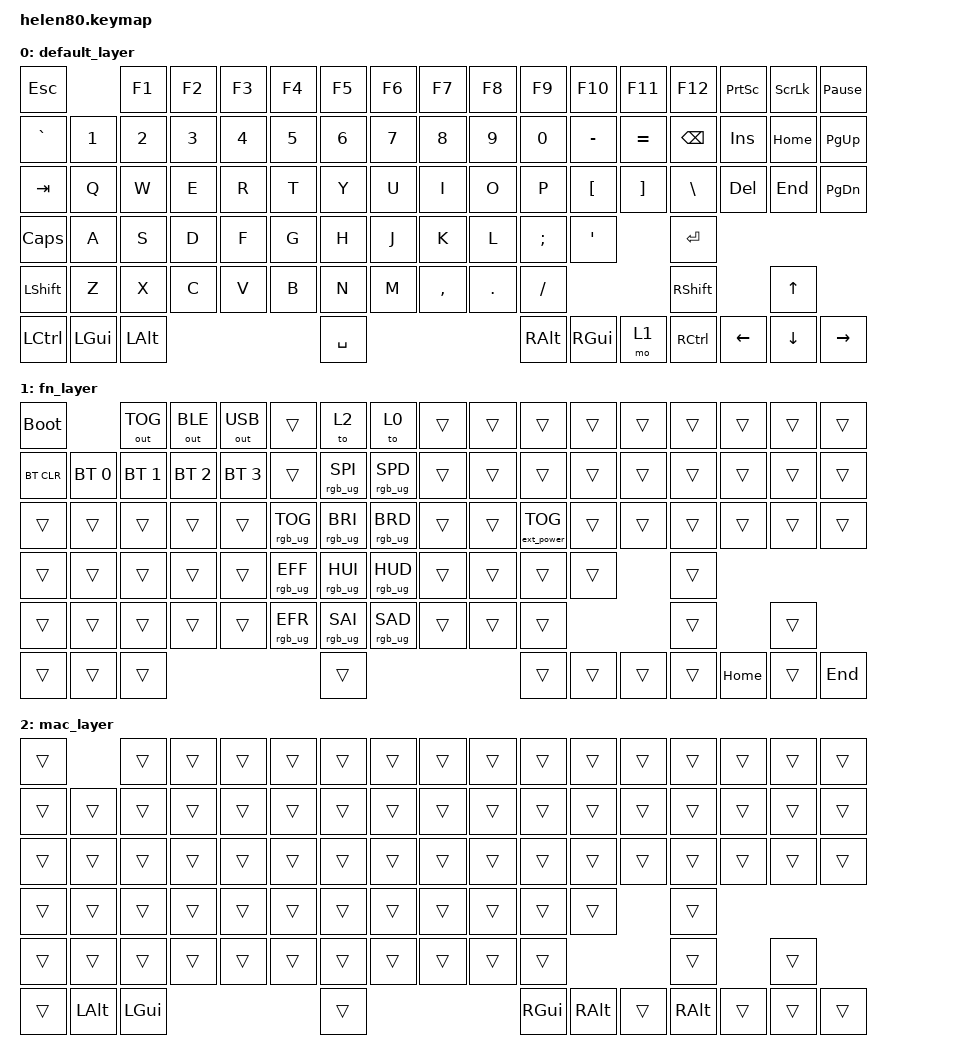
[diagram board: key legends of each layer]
#include <behaviors.dtsi>
#include <dt-bindings/zmk/keys.h>
#include <dt-bindings/zmk/rgb.h>
#include <dt-bindings/zmk/bt.h>
#include <dt-bindings/zmk/ext_power.h>
#include <dt-bindings/zmk/outputs.h>
/*

*/


/ {
    keymap {
        compatible = "zmk,keymap";

        default_layer {
            bindings = <
&kp ESC             &kp F1  &kp F2  &kp F3  &kp F4  &kp F5    &kp F6  &kp F7    &kp F8  &kp F9   &kp F10    &kp F11    &kp F12      &kp PSCRN &kp SLCK  &kp PAUSE_BREAK
&kp GRAVE  &kp N1   &kp N2  &kp N3  &kp N4  &kp N5  &kp N6    &kp N7  &kp N8    &kp N9  &kp N0   &kp MINUS  &kp EQUAL  &kp BSPC     &kp INS   &kp HOME  &kp PG_UP
&kp TAB    &kp Q    &kp W   &kp E   &kp R   &kp T   &kp Y     &kp U   &kp I     &kp O   &kp P    &kp LBKT   &kp RBKT   &kp BSLH     &kp DEL   &kp END   &kp PG_DN
&kp CLCK   &kp A    &kp S   &kp D   &kp F   &kp G   &kp H     &kp J   &kp K     &kp L   &kp SEMI &kp SQT               &kp RET
&kp LSHFT  &kp Z    &kp X   &kp C   &kp V   &kp B   &kp N     &kp M   &kp COMMA &kp DOT &kp FSLH                       &kp RSHFT              &kp UP
&kp LCTRL  &kp LGUI &kp LALT                        &kp SPACE                           &kp RALT &kp  RGUI  &mo 1      &kp RCTRL    &kp LEFT  &kp DOWN  &kp RIGHT
            >;
        };

        fn_layer {
            bindings = <
&bootloader               &out OUT_TOG  &out OUT_BLE  &out OUT_USB  &trans           &to 2            &to 0            &trans  &trans  &trans             &trans  &trans  &trans    &trans    &trans  &trans
&bt BT_CLR  &bt BT_SEL 0  &bt BT_SEL 1  &bt BT_SEL 2  &bt BT_SEL 3  &trans           &rgb_ug RGB_SPI  &rgb_ug RGB_SPD  &trans  &trans  &trans             &trans  &trans  &trans    &trans    &trans  &trans
&trans      &trans        &trans        &trans        &trans        &rgb_ug RGB_TOG  &rgb_ug RGB_BRI  &rgb_ug RGB_BRD  &trans  &trans  &ext_power EP_TOG  &trans  &trans  &trans    &trans    &trans  &trans
&trans      &trans        &trans        &trans        &trans        &rgb_ug RGB_EFF  &rgb_ug RGB_HUI  &rgb_ug RGB_HUD  &trans  &trans  &trans             &trans          &trans
&trans      &trans        &trans        &trans        &trans        &rgb_ug RGB_EFR  &rgb_ug RGB_SAI  &rgb_ug RGB_SAD  &trans  &trans  &trans                             &trans              &trans
&trans      &trans        &trans                                                     &trans                                            &trans             &trans  &trans  &trans    &kp HOME  &trans  &kp END
            >;
        };

        mac_layer {
            bindings = <
&trans           &trans  &trans  &trans  &trans  &trans  &trans  &trans  &trans  &trans    &trans    &trans  &trans      &trans  &trans  &trans
&trans  &trans   &trans  &trans  &trans  &trans  &trans  &trans  &trans  &trans  &trans    &trans    &trans  &trans      &trans  &trans  &trans
&trans  &trans   &trans  &trans  &trans  &trans  &trans  &trans  &trans  &trans  &trans    &trans    &trans  &trans      &trans  &trans  &trans
&trans  &trans   &trans  &trans  &trans  &trans  &trans  &trans  &trans  &trans  &trans    &trans            &trans
&trans  &trans   &trans  &trans  &trans  &trans  &trans  &trans  &trans  &trans  &trans                      &trans              &trans
&trans  &kp LALT &kp LGUI                        &trans                          &kp RGUI  &kp RALT  &trans  &kp RALT    &trans  &trans  &trans
            >;
        };
    };
};
